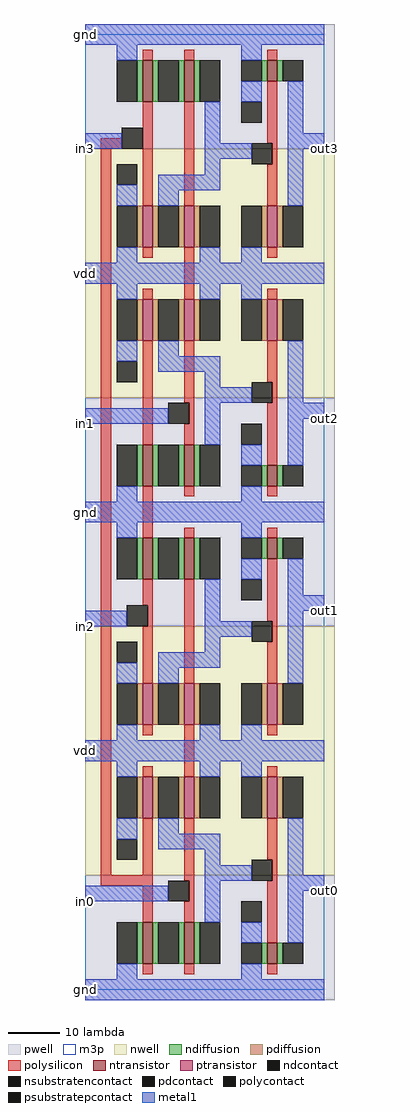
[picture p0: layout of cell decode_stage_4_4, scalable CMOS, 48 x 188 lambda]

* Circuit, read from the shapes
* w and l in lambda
.subckt decode_stage_4_4 gnd in0 in1 in2 in3 out0 out1 out2 out3 vdd
M1 n1 in3 gnd gnd nfet w=8 l=2
M2 n2 in2 gnd gnd nfet w=8 l=2
M3 n3 in2 gnd gnd nfet w=8 l=2
M4 n4 in3 gnd gnd nfet w=8 l=2
M5 n5 in0 n1 gnd nfet w=8 l=2
M6 n6 in0 n2 gnd nfet w=8 l=2
M7 n7 in1 n3 gnd nfet w=8 l=2
M8 n8 in1 n4 gnd nfet w=8 l=2
M9 out0 n5 gnd gnd nfet w=4 l=2
M10 out1 n6 gnd gnd nfet w=4 l=2
M11 out2 n7 gnd gnd nfet w=4 l=2
M12 out3 n8 gnd gnd nfet w=4 l=2
M13 n5 in3 vdd vdd pfet w=8 l=2
M14 n6 in2 vdd vdd pfet w=8 l=2
M15 n7 in2 vdd vdd pfet w=8 l=2
M16 n8 in3 vdd vdd pfet w=8 l=2
M17 vdd in0 n5 vdd pfet w=8 l=2
M18 vdd in0 n6 vdd pfet w=8 l=2
M19 vdd in1 n7 vdd pfet w=8 l=2
M20 vdd in1 n8 vdd pfet w=8 l=2
M21 out0 n5 vdd vdd pfet w=8 l=2
M22 out1 n6 vdd vdd pfet w=8 l=2
M23 out2 n7 vdd vdd pfet w=8 l=2
M24 out3 n8 vdd vdd pfet w=8 l=2
.ends

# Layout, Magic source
magic
tech scmos
<< nwell >>
rect 0 114 48 162
rect 0 22 48 70
<< pwell >>
rect 0 162 48 186
rect 0 70 48 114
rect 0 -2 48 22
<< ntransistor >>
rect 11 171 13 179
rect 19 171 21 179
rect 35 175 37 179
rect 11 97 13 105
rect 19 97 21 105
rect 35 97 37 101
rect 11 79 13 87
rect 19 79 21 87
rect 35 83 37 87
rect 11 5 13 13
rect 19 5 21 13
rect 35 5 37 9
<< ptransistor >>
rect 11 143 13 151
rect 19 143 21 151
rect 35 143 37 151
rect 11 125 13 133
rect 19 125 21 133
rect 35 125 37 133
rect 11 51 13 59
rect 19 51 21 59
rect 35 51 37 59
rect 11 33 13 41
rect 19 33 21 41
rect 35 33 37 41
<< ndiffusion >>
rect 10 171 11 179
rect 13 171 14 179
rect 18 171 19 179
rect 21 171 22 179
rect 34 175 35 179
rect 37 175 38 179
rect 10 97 11 105
rect 13 97 14 105
rect 18 97 19 105
rect 21 97 22 105
rect 34 97 35 101
rect 37 97 38 101
rect 10 79 11 87
rect 13 79 14 87
rect 18 79 19 87
rect 21 79 22 87
rect 34 83 35 87
rect 37 83 38 87
rect 10 5 11 13
rect 13 5 14 13
rect 18 5 19 13
rect 21 5 22 13
rect 34 5 35 9
rect 37 5 38 9
<< pdiffusion >>
rect 10 143 11 151
rect 13 143 14 151
rect 18 143 19 151
rect 21 143 22 151
rect 34 143 35 151
rect 37 143 38 151
rect 10 125 11 133
rect 13 125 14 133
rect 18 125 19 133
rect 21 125 22 133
rect 34 125 35 133
rect 37 125 38 133
rect 10 51 11 59
rect 13 51 14 59
rect 18 51 19 59
rect 21 51 22 59
rect 34 51 35 59
rect 37 51 38 59
rect 10 33 11 41
rect 13 33 14 41
rect 18 33 19 41
rect 21 33 22 41
rect 34 33 35 41
rect 37 33 38 41
<< ndcontact >>
rect 6 171 10 179
rect 14 171 18 179
rect 22 171 26 179
rect 30 175 34 179
rect 38 175 42 179
rect 6 97 10 105
rect 14 97 18 105
rect 22 97 26 105
rect 30 97 34 101
rect 38 97 42 101
rect 6 79 10 87
rect 14 79 18 87
rect 22 79 26 87
rect 30 83 34 87
rect 38 83 42 87
rect 6 5 10 13
rect 14 5 18 13
rect 22 5 26 13
rect 30 5 34 9
rect 38 5 42 9
<< pdcontact >>
rect 6 143 10 151
rect 14 143 18 151
rect 22 143 26 151
rect 30 143 34 151
rect 38 143 42 151
rect 6 125 10 133
rect 14 125 18 133
rect 22 125 26 133
rect 30 125 34 133
rect 38 125 42 133
rect 6 51 10 59
rect 14 51 18 59
rect 22 51 26 59
rect 30 51 34 59
rect 38 51 42 59
rect 6 33 10 41
rect 14 33 18 41
rect 22 33 26 41
rect 30 33 34 41
rect 38 33 42 41
<< psubstratepcontact >>
rect 30 167 34 171
rect 30 105 34 109
rect 30 75 34 79
rect 30 13 34 17
<< nsubstratencontact >>
rect 6 155 10 159
rect 6 117 10 121
rect 6 63 10 67
rect 6 25 10 29
<< polysilicon >>
rect 11 179 13 181
rect 19 179 21 181
rect 35 179 37 181
rect 3 162 7 164
rect 3 22 5 162
rect 11 151 13 171
rect 19 151 21 171
rect 35 163 37 175
rect 36 159 37 163
rect 35 151 37 159
rect 11 141 13 143
rect 11 133 13 135
rect 19 133 21 143
rect 35 141 37 143
rect 35 133 37 135
rect 11 105 13 125
rect 19 113 21 125
rect 35 117 37 125
rect 36 113 37 117
rect 20 109 21 113
rect 19 105 21 109
rect 35 101 37 113
rect 11 87 13 97
rect 19 95 21 97
rect 35 95 37 97
rect 19 87 21 89
rect 35 87 37 89
rect 11 74 13 79
rect 12 70 13 74
rect 11 59 13 70
rect 19 59 21 79
rect 35 71 37 83
rect 36 67 37 71
rect 35 59 37 67
rect 11 49 13 51
rect 11 41 13 43
rect 19 41 21 51
rect 35 49 37 51
rect 35 41 37 43
rect 11 22 13 33
rect 3 20 13 22
rect 19 21 21 33
rect 35 25 37 33
rect 36 21 37 25
rect 11 13 13 20
rect 20 17 21 21
rect 19 13 21 17
rect 35 9 37 21
rect 11 3 13 5
rect 19 3 21 5
rect 35 3 37 5
<< polycontact >>
rect 7 162 11 166
rect 32 159 36 163
rect 32 113 36 117
rect 16 109 20 113
rect 8 70 12 74
rect 32 67 36 71
rect 32 21 36 25
rect 16 17 20 21
<< metal1 >>
rect 0 182 46 186
rect 6 179 10 182
rect 30 179 34 182
rect 0 162 7 165
rect 23 163 26 171
rect 30 171 34 175
rect 39 165 42 175
rect 23 160 32 163
rect 23 157 26 160
rect 39 162 46 165
rect 6 151 10 155
rect 14 154 26 157
rect 14 151 18 154
rect 39 151 42 162
rect 6 140 10 143
rect 22 140 26 143
rect 30 140 34 143
rect 0 136 46 140
rect 6 133 10 136
rect 22 133 26 136
rect 6 121 10 125
rect 30 133 34 136
rect 14 122 18 125
rect 14 119 26 122
rect 23 116 26 119
rect 23 113 32 116
rect 39 113 42 125
rect 0 109 16 112
rect 23 105 26 113
rect 39 110 46 113
rect 30 101 34 105
rect 39 101 42 110
rect 6 94 10 97
rect 30 94 34 97
rect 0 90 46 94
rect 6 87 10 90
rect 30 87 34 90
rect 0 70 8 73
rect 23 71 26 79
rect 30 79 34 83
rect 39 76 42 83
rect 39 73 46 76
rect 23 68 32 71
rect 23 65 26 68
rect 6 59 10 63
rect 14 62 26 65
rect 14 59 18 62
rect 39 59 42 73
rect 6 48 10 51
rect 22 48 26 51
rect 30 48 34 51
rect 0 44 46 48
rect 6 41 10 44
rect 22 41 26 44
rect 6 29 10 33
rect 30 41 34 44
rect 14 30 18 33
rect 14 27 26 30
rect 23 24 26 27
rect 23 21 32 24
rect 39 22 42 33
rect 0 17 16 20
rect 23 13 26 21
rect 39 19 46 22
rect 30 9 34 13
rect 39 9 42 19
rect 6 2 10 5
rect 30 2 34 5
rect 0 -2 46 2
<< m3p >>
rect 0 0 46 184
<< labels >>
rlabel metal1 0 17 0 17 3 in0
rlabel metal1 0 0 0 0 2 gnd
rlabel metal1 0 46 0 46 3 vdd
rlabel metal1 0 138 0 138 3 vdd
rlabel metal1 0 92 0 92 3 gnd
rlabel metal1 0 184 0 184 4 gnd
rlabel metal1 0 162 0 162 3 in3
rlabel metal1 46 19 46 19 7 out0
rlabel metal1 46 73 46 73 7 out1
rlabel metal1 46 110 46 110 7 out2
rlabel metal1 46 162 46 162 7 out3
rlabel metal1 0 109 0 109 3 in1
rlabel metal1 0 70 0 70 3 in2
<< end >>
